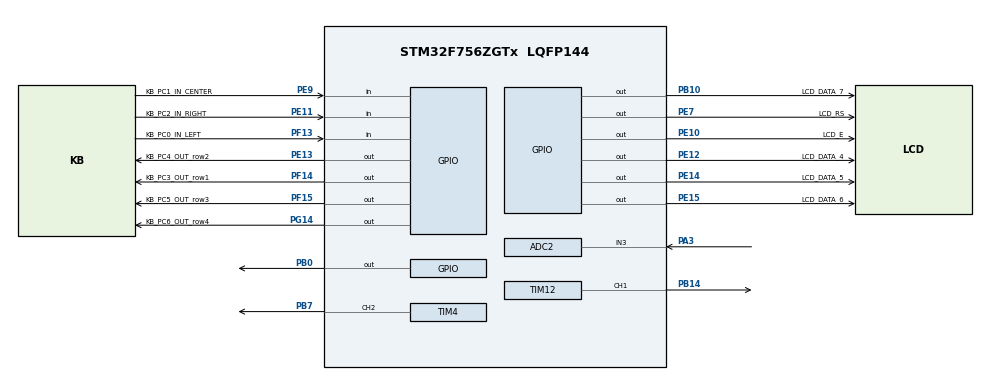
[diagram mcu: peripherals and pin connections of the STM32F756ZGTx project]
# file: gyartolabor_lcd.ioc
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ADC1.Channel-0\#ChannelRegularConversion=ADC_CHANNEL_TEMPSENSOR
ADC1.NbrOfConversionFlag=1
ADC1.Rank-0\#ChannelRegularConversion=1
ADC1.SamplingTime-0\#ChannelRegularConversion=ADC_SAMPLETIME_3CYCLES
ADC1.master=1
ADC2.Channel-0\#ChannelRegularConversion=ADC_CHANNEL_3
ADC2.NbrOfConversionFlag=1
ADC2.Rank-0\#ChannelRegularConversion=1
ADC2.SamplingTime-0\#ChannelRegularConversion=ADC_SAMPLETIME_3CYCLES
Mcu.Family=STM32F7
Mcu.Name=STM32F756ZGTx
Mcu.Package=LQFP144
NVIC.PriorityGroup=NVIC_PRIORITYGROUP_4
NVIC.TIM4_IRQn=true\:0\:0\:false\:false\:true\:true\:true
NVIC.TIM8_BRK_TIM12_IRQn=true\:0\:0\:false\:false\:true\:true\:true
PA3.Signal=ADCx_IN3
PB0.Signal=GPIO_Output
PB10.GPIO_Label=LCD_DATA_7
PB10.Signal=GPIO_Output
PB14.Signal=S_TIM12_CH1
PB7.Signal=S_TIM4_CH2
PE10.GPIO_Label=LCD_E
PE10.Signal=GPIO_Output
PE11.GPIO_Label=KB_PC2_IN_RIGHT
PE11.Signal=GPIO_Input
PE12.GPIO_Label=LCD_DATA_4
PE12.Signal=GPIO_Output
PE13.GPIO_Label=KB_PC4_OUT_row2
PE13.Signal=GPIO_Output
PE14.GPIO_Label=LCD_DATA_5
PE14.Signal=GPIO_Output
PE15.GPIO_Label=LCD_DATA_6
PE15.Signal=GPIO_Output
PE7.GPIO_Label=LCD_RS
PE7.Signal=GPIO_Output
PE9.GPIO_Label=KB_PC1_IN_CENTER
PE9.Signal=GPIO_Input
PF13.GPIO_Label=KB_PC0_IN_LEFT
PF13.Signal=GPIO_Input
PF14.GPIO_Label=KB_PC3_OUT_row1
PF14.Signal=GPIO_Output
PF15.GPIO_Label=KB_PC5_OUT_row3
PF15.Signal=GPIO_Output
PG14.GPIO_Label=KB_PC6_OUT_row4
PG14.Signal=GPIO_Output
ProjectManager.HeapSize=0x200
ProjectManager.StackSize=0x400
ProjectManager.TargetToolchain=TrueSTUDIO
RCC.HSE_VALUE=25000000
RCC.HSI_VALUE=16000000
RCC.LSE_VALUE=32768
RCC.USBFreq_Value=96000000
RCC.VCOOutputFreq_Value=192000000
SH.ADCx_IN3.0=ADC2_IN3,IN3
SH.S_TIM12_CH1.0=TIM12_CH1,PWM Generation1 CH1
SH.S_TIM4_CH2.0=TIM4_CH2,PWM Generation2 CH2
TIM12.Channel-PWM\ Generation1\ CH1=TIM_CHANNEL_1
TIM12.Period=100
TIM12.Prescaler=15
TIM12.Pulse-PWM\ Generation1\ CH1=5
TIM4.Channel-PWM\ Generation2\ CH2=TIM_CHANNEL_2
TIM4.Period=100
TIM4.Prescaler=15
TIM4.Pulse-PWM\ Generation2\ CH2=5
VP_ADC1_TempSens_Input.Mode=IN-TempSens
board=custom

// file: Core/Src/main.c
/* USER CODE BEGIN Header */
/**
  ******************************************************************************
  * @file           : main.c
  * @brief          : Main program body
  ******************************************************************************
  * @attention
  *
  * <h2><center>&copy; Copyright (c) 2021 STMicroelectronics.
  * All rights reserved.</center></h2>
  *
  * This software component is licensed by ST under BSD 3-Clause license,
  * the "License"; You may not use this file except in compliance with the
  * License. You may obtain a copy of the License at:
  *                        opensource.org/licenses/BSD-3-Clause
  *
  ******************************************************************************
  */
/* USER CODE END Header */
#include "main.h"

/* USER CODE BEGIN Includes */
#include "lcd.h"
#include "matrix.h"
//#include "code.h"
/* USER CODE END Includes */

ADC_HandleTypeDef hadc1;
ADC_HandleTypeDef hadc2;

TIM_HandleTypeDef htim4;
TIM_HandleTypeDef htim12;

/* USER CODE BEGIN PV */

uint32_t v_adc_ch3 = 0;
double temp = 0;
uint32_t adc1_reg=0;
uint8_t egesz=1;
uint8_t valami=1;
uint16_t cnt=0;
uint32_t adc_data_reg;
/* USER CODE END PV */

void SystemClock_Config(void);
static void MX_GPIO_Init(void);
static void MX_TIM4_Init(void);
static void MX_TIM12_Init(void);
static void MX_ADC1_Init(void);
static void MX_ADC2_Init(void);
/* USER CODE BEGIN PFP */
void read_matrix(void){

	matrix_search();

	uint8_t key=get_key();

}

void HAL_TIM_PeriodElapsedCallback(TIM_HandleTypeDef *htim)
{
	HAL_ADC_Start(&hadc2); //adc conv start
	if(cnt==5000) // 500ms
	{
		//HAL_GPIO_TogglePin(GPIOB, GPIO_PIN_0);
		cnt=0;
		adc_data_reg = HAL_ADC_GetValue(&hadc2);
		v_adc_ch3 = (3300*adc_data_reg)/4096;  //3.3V 12bit 4096 0-4096

	}
	cnt++;

}
/* USER CODE END PFP */

int main(void)
{

  /* MCU Configuration--------------------------------------------------------*/

  /* Reset of all peripherals, Initializes the Flash interface and the Systick. */
  HAL_Init();

  /* Configure the system clock */
  SystemClock_Config();

  /* Initialize all configured peripherals */
  MX_GPIO_Init();
  MX_TIM4_Init();
  MX_TIM12_Init();
  MX_ADC1_Init();
  MX_ADC2_Init();
  /* USER CODE BEGIN 2 */
  //HAL_TIM_PWM_Start_IT(&htim12, TIM_CHANNEL_1);
  //HAL_TIM_PWM_Start_IT(&htim4, TIM_CHANNEL_2);
  HAL_TIM_Base_Start_IT(&htim4);
  HAL_ADC_Start(&hadc2);
  LCD_init();
  LCD_cmd(0x01);
  LCD_cmd(0x80);
  //LCD_xy(4,1);
  //LCD_string("hello grg");
  uint8_t matrix_k=0;
  //LCD_string("!");
  //HAL_GPIO_WritePin(GPIOB, GPIO_PIN_7, GPIO_PIN_SET);
  //HAL_GPIO_WritePin(LED_R_GPIO_Port, LED_R_Pin, GPIO_PIN_SET);
  /* USER CODE END 2 */

  /* Infinite loop */
  /* USER CODE BEGIN WHILE */
  while (1)
  {
	  //read_matrix();

	  LCD_xy(0,1);
	  LCD_cmd(0x80);
	  if(v_adc_ch3>2476)
	  {
		  LCD_xy(0,1); LCD_string("High     ");
	  }

	  if((v_adc_ch3>1651) && (v_adc_ch3<2475))
	  {
		  LCD_xy(0,1); LCD_string("Medium");
	  	}
	  LCD_xy(0,1);
	  	if((v_adc_ch3<1650) && (v_adc_ch3>826))
	  	 {
	  		LCD_xy(0,1); LCD_string("Low      ");
	 }

	  if(v_adc_ch3<825)
	  {

		  LCD_xy(0,1); LCD_string("Very low");
	  }

    /* USER CODE END WHILE */

  }
}

void SystemClock_Config(void)
{
  RCC_OscInitTypeDef RCC_OscInitStruct = {0};
  RCC_ClkInitTypeDef RCC_ClkInitStruct = {0};

  /** Configure the main internal regulator output voltage
  */
  __HAL_RCC_PWR_CLK_ENABLE();
  __HAL_PWR_VOLTAGESCALING_CONFIG(PWR_REGULATOR_VOLTAGE_SCALE3);
  /** Initializes the RCC Oscillators according to the specified parameters
  * in the RCC_OscInitTypeDef structure.
  */
  RCC_OscInitStruct.OscillatorType = RCC_OSCILLATORTYPE_HSI;
  RCC_OscInitStruct.HSIState = RCC_HSI_ON;
  RCC_OscInitStruct.HSICalibrationValue = RCC_HSICALIBRATION_DEFAULT;
  RCC_OscInitStruct.PLL.PLLState = RCC_PLL_NONE;
  if (HAL_RCC_OscConfig(&RCC_OscInitStruct) != HAL_OK)
  {
    Error_Handler();
  }
  /** Initializes the CPU, AHB and APB buses clocks
  */
  RCC_ClkInitStruct.ClockType = RCC_CLOCKTYPE_HCLK|RCC_CLOCKTYPE_SYSCLK
                              |RCC_CLOCKTYPE_PCLK1|RCC_CLOCKTYPE_PCLK2;
  RCC_ClkInitStruct.SYSCLKSource = RCC_SYSCLKSOURCE_HSI;
  RCC_ClkInitStruct.AHBCLKDivider = RCC_SYSCLK_DIV1;
  RCC_ClkInitStruct.APB1CLKDivider = RCC_HCLK_DIV1;
  RCC_ClkInitStruct.APB2CLKDivider = RCC_HCLK_DIV1;

  if (HAL_RCC_ClockConfig(&RCC_ClkInitStruct, FLASH_LATENCY_0) != HAL_OK)
  {
    Error_Handler();
  }
}

static void MX_ADC1_Init(void)
{

  ADC_ChannelConfTypeDef sConfig = {0};

  /** Configure the global features of the ADC (Clock, Resolution, Data Alignment and number of conversion)
  */
  hadc1.Instance = ADC1;
  hadc1.Init.ClockPrescaler = ADC_CLOCK_SYNC_PCLK_DIV2;
  hadc1.Init.Resolution = ADC_RESOLUTION_12B;
  hadc1.Init.ScanConvMode = ADC_SCAN_DISABLE;
  hadc1.Init.ContinuousConvMode = DISABLE;
  hadc1.Init.DiscontinuousConvMode = DISABLE;
  hadc1.Init.ExternalTrigConvEdge = ADC_EXTERNALTRIGCONVEDGE_NONE;
  hadc1.Init.ExternalTrigConv = ADC_SOFTWARE_START;
  hadc1.Init.DataAlign = ADC_DATAALIGN_RIGHT;
  hadc1.Init.NbrOfConversion = 1;
  hadc1.Init.DMAContinuousRequests = DISABLE;
  hadc1.Init.EOCSelection = ADC_EOC_SINGLE_CONV;
  if (HAL_ADC_Init(&hadc1) != HAL_OK)
  {
    Error_Handler();
  }
  /** Configure for the selected ADC regular channel its corresponding rank in the sequencer and its sample time.
  */
  sConfig.Channel = ADC_CHANNEL_TEMPSENSOR;
  sConfig.Rank = ADC_REGULAR_RANK_1;
  sConfig.SamplingTime = ADC_SAMPLETIME_3CYCLES;
  if (HAL_ADC_ConfigChannel(&hadc1, &sConfig) != HAL_OK)
  {
    Error_Handler();
  }

}

static void MX_ADC2_Init(void)
{

  ADC_ChannelConfTypeDef sConfig = {0};

  /** Configure the global features of the ADC (Clock, Resolution, Data Alignment and number of conversion)
  */
  hadc2.Instance = ADC2;
  hadc2.Init.ClockPrescaler = ADC_CLOCK_SYNC_PCLK_DIV2;
  hadc2.Init.Resolution = ADC_RESOLUTION_12B;
  hadc2.Init.ScanConvMode = ADC_SCAN_DISABLE;
  hadc2.Init.ContinuousConvMode = DISABLE;
  hadc2.Init.DiscontinuousConvMode = DISABLE;
  hadc2.Init.ExternalTrigConvEdge = ADC_EXTERNALTRIGCONVEDGE_NONE;
  hadc2.Init.ExternalTrigConv = ADC_SOFTWARE_START;
  hadc2.Init.DataAlign = ADC_DATAALIGN_RIGHT;
  hadc2.Init.NbrOfConversion = 1;
  hadc2.Init.DMAContinuousRequests = DISABLE;
  hadc2.Init.EOCSelection = ADC_EOC_SINGLE_CONV;
  if (HAL_ADC_Init(&hadc2) != HAL_OK)
  {
    Error_Handler();
  }
  /** Configure for the selected ADC regular channel its corresponding rank in the sequencer and its sample time.
  */
  sConfig.Channel = ADC_CHANNEL_3;
  sConfig.Rank = ADC_REGULAR_RANK_1;
  sConfig.SamplingTime = ADC_SAMPLETIME_3CYCLES;
  if (HAL_ADC_ConfigChannel(&hadc2, &sConfig) != HAL_OK)
  {
    Error_Handler();
  }

}

static void MX_TIM4_Init(void)
{

  TIM_MasterConfigTypeDef sMasterConfig = {0};
  TIM_OC_InitTypeDef sConfigOC = {0};

  htim4.Instance = TIM4;
  htim4.Init.Prescaler = 15;
  htim4.Init.CounterMode = TIM_COUNTERMODE_UP;
  htim4.Init.Period = 100;
  htim4.Init.ClockDivision = TIM_CLOCKDIVISION_DIV1;
  htim4.Init.AutoReloadPreload = TIM_AUTORELOAD_PRELOAD_DISABLE;
  if (HAL_TIM_PWM_Init(&htim4) != HAL_OK)
  {
    Error_Handler();
  }
  sMasterConfig.MasterOutputTrigger = TIM_TRGO_RESET;
  sMasterConfig.MasterSlaveMode = TIM_MASTERSLAVEMODE_DISABLE;
  if (HAL_TIMEx_MasterConfigSynchronization(&htim4, &sMasterConfig) != HAL_OK)
  {
    Error_Handler();
  }
  sConfigOC.OCMode = TIM_OCMODE_PWM1;
  sConfigOC.Pulse = 5;
  sConfigOC.OCPolarity = TIM_OCPOLARITY_HIGH;
  sConfigOC.OCFastMode = TIM_OCFAST_DISABLE;
  if (HAL_TIM_PWM_ConfigChannel(&htim4, &sConfigOC, TIM_CHANNEL_2) != HAL_OK)
  {
    Error_Handler();
  }
  HAL_TIM_MspPostInit(&htim4);

}

static void MX_TIM12_Init(void)
{

  TIM_OC_InitTypeDef sConfigOC = {0};

  htim12.Instance = TIM12;
  htim12.Init.Prescaler = 15;
  htim12.Init.CounterMode = TIM_COUNTERMODE_UP;
  htim12.Init.Period = 100;
  htim12.Init.ClockDivision = TIM_CLOCKDIVISION_DIV1;
  htim12.Init.AutoReloadPreload = TIM_AUTORELOAD_PRELOAD_DISABLE;
  if (HAL_TIM_PWM_Init(&htim12) != HAL_OK)
  {
    Error_Handler();
  }
  sConfigOC.OCMode = TIM_OCMODE_PWM1;
  sConfigOC.Pulse = 5;
  sConfigOC.OCPolarity = TIM_OCPOLARITY_HIGH;
  sConfigOC.OCFastMode = TIM_OCFAST_DISABLE;
  if (HAL_TIM_PWM_ConfigChannel(&htim12, &sConfigOC, TIM_CHANNEL_1) != HAL_OK)
  {
    Error_Handler();
  }
  HAL_TIM_MspPostInit(&htim12);

}

static void MX_GPIO_Init(void)
{
  GPIO_InitTypeDef GPIO_InitStruct = {0};

  /* GPIO Ports Clock Enable */
  __HAL_RCC_GPIOA_CLK_ENABLE();
  __HAL_RCC_GPIOB_CLK_ENABLE();
  __HAL_RCC_GPIOF_CLK_ENABLE();
  __HAL_RCC_GPIOE_CLK_ENABLE();
  __HAL_RCC_GPIOG_CLK_ENABLE();

  /*Configure GPIO pin Output Level */
  HAL_GPIO_WritePin(GPIOB, GPIO_PIN_0|LCD_DATA_7_Pin, GPIO_PIN_RESET);

  /*Configure GPIO pin Output Level */
  HAL_GPIO_WritePin(GPIOF, KB_PC3_OUT_row1_Pin|KB_PC5_OUT_row3_Pin, GPIO_PIN_RESET);

  /*Configure GPIO pin Output Level */
  HAL_GPIO_WritePin(GPIOE, LCD_RS_Pin|LCD_E_Pin|LCD_DATA_4_Pin|KB_PC4_OUT_row2_Pin
                          |LCD_DATA_5_Pin|LCD_DATA_6_Pin, GPIO_PIN_RESET);

  /*Configure GPIO pin Output Level */
  HAL_GPIO_WritePin(KB_PC6_OUT_row4_GPIO_Port, KB_PC6_OUT_row4_Pin, GPIO_PIN_RESET);

  /*Configure GPIO pins : PB0 LCD_DATA_7_Pin */
  GPIO_InitStruct.Pin = GPIO_PIN_0|LCD_DATA_7_Pin;
  GPIO_InitStruct.Mode = GPIO_MODE_OUTPUT_PP;
  GPIO_InitStruct.Pull = GPIO_NOPULL;
  GPIO_InitStruct.Speed = GPIO_SPEED_FREQ_LOW;
  HAL_GPIO_Init(GPIOB, &GPIO_InitStruct);

  /*Configure GPIO pin : KB_PC0_IN_LEFT_Pin */
  GPIO_InitStruct.Pin = KB_PC0_IN_LEFT_Pin;
  GPIO_InitStruct.Mode = GPIO_MODE_INPUT;
  GPIO_InitStruct.Pull = GPIO_NOPULL;
  HAL_GPIO_Init(KB_PC0_IN_LEFT_GPIO_Port, &GPIO_InitStruct);

  /*Configure GPIO pins : KB_PC3_OUT_row1_Pin KB_PC5_OUT_row3_Pin */
  GPIO_InitStruct.Pin = KB_PC3_OUT_row1_Pin|KB_PC5_OUT_row3_Pin;
  GPIO_InitStruct.Mode = GPIO_MODE_OUTPUT_PP;
  GPIO_InitStruct.Pull = GPIO_NOPULL;
  GPIO_InitStruct.Speed = GPIO_SPEED_FREQ_LOW;
  HAL_GPIO_Init(GPIOF, &GPIO_InitStruct);

  /*Configure GPIO pins : LCD_RS_Pin LCD_E_Pin LCD_DATA_4_Pin KB_PC4_OUT_row2_Pin
                           LCD_DATA_5_Pin LCD_DATA_6_Pin */
  GPIO_InitStruct.Pin = LCD_RS_Pin|LCD_E_Pin|LCD_DATA_4_Pin|KB_PC4_OUT_row2_Pin
                          |LCD_DATA_5_Pin|LCD_DATA_6_Pin;
  GPIO_InitStruct.Mode = GPIO_MODE_OUTPUT_PP;
  GPIO_InitStruct.Pull = GPIO_NOPULL;
  GPIO_InitStruct.Speed = GPIO_SPEED_FREQ_LOW;
  HAL_GPIO_Init(GPIOE, &GPIO_InitStruct);

  /*Configure GPIO pins : KB_PC1_IN_CENTER_Pin KB_PC2_IN_RIGHT_Pin */
  GPIO_InitStruct.Pin = KB_PC1_IN_CENTER_Pin|KB_PC2_IN_RIGHT_Pin;
  GPIO_InitStruct.Mode = GPIO_MODE_INPUT;
  GPIO_InitStruct.Pull = GPIO_NOPULL;
  HAL_GPIO_Init(GPIOE, &GPIO_InitStruct);

  /*Configure GPIO pin : KB_PC6_OUT_row4_Pin */
  GPIO_InitStruct.Pin = KB_PC6_OUT_row4_Pin;
  GPIO_InitStruct.Mode = GPIO_MODE_OUTPUT_PP;
  GPIO_InitStruct.Pull = GPIO_NOPULL;
  GPIO_InitStruct.Speed = GPIO_SPEED_FREQ_LOW;
  HAL_GPIO_Init(KB_PC6_OUT_row4_GPIO_Port, &GPIO_InitStruct);

}

void Error_Handler(void)
{
  __disable_irq();
  while (1)
  {
  }
}

/************************ (C) COPYRIGHT STMicroelectronics *****END OF FILE****/
